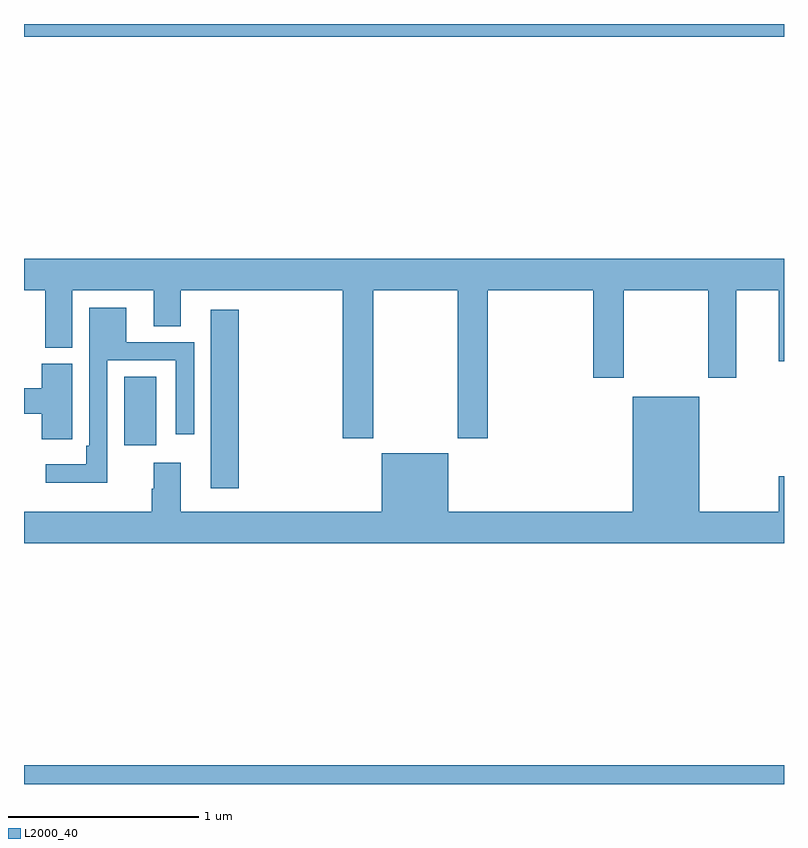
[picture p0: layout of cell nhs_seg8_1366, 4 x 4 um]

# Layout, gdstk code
import gdstk
lib = gdstk.Library(unit=1e-6, precision=1e-09)
def R(c, l, rs):  # rectangles x0, y0, x1, y1
    for r in rs: c.add(gdstk.rectangle(r[:2], r[2:], *l))
def P(c, l, *ps):  # polygons
    for p in ps: c.add(gdstk.Polygon(p, *l))
L2000_40 = (2000, 40)

nhs_seg8_1366 = lib.new_cell('nhs_seg8_1366')
R(nhs_seg8_1366, L2000_40, [(197,1113.9,201,1114), (197.984,1115.457,198.131,1116.397), (197.528,1115.682,197.695,1116.044), (197,1117.832,201,1117.9)])
P(nhs_seg8_1366, L2000_40, [(198.837,1116.5),(199.282,1116.5),(199.282,1115.721),(199.442,1115.721),(199.442,1116.5),(199.997,1116.5),(199.997,1116.039),(200.157,1116.039),(200.157,1116.5),(200.602,1116.5),(200.602,1116.039),(200.749,1116.039),(200.749,1116.5),(200.972,1116.5),(200.972,1116.126),(201,1116.126),(201,1116.664),(197,1116.664),(197,1116.5),(197.111,1116.5),(197.111,1116.196),(197.254,1116.196),(197.254,1116.5),(197.684,1116.5),(197.684,1116.31),(197.824,1116.31),(197.824,1116.5),(198.677,1116.5),(198.677,1115.721),(198.837,1115.721)],
  [(197.439,1116.129),(197.799,1116.129),(197.799,1115.742),(197.895,1115.742),(197.895,1116.225),(197.539,1116.225),(197.539,1116.406),(197.343,1116.406),(197.343,1115.68),(197.327,1115.68),(197.327,1115.584),(197.115,1115.584),(197.115,1115.486),(197.439,1115.486)],
  [(197.253,1115.827),(197.254,1115.827),(197.254,1116.111),(197.093,1116.111),(197.093,1115.984),(197,1115.984),(197,1115.848),(197.093,1115.848),(197.093,1115.715),(197.253,1115.715)],
  [(201,1115.521),(200.972,1115.521),(200.972,1115.332),(200.554,1115.332),(200.554,1115.938),(200.204,1115.938),(200.204,1115.332),(199.234,1115.332),(199.234,1115.641),(198.884,1115.641),(198.884,1115.332),(197.824,1115.332),(197.824,1115.59),(197.684,1115.59),(197.684,1115.453),(197.672,1115.453),(197.672,1115.332),(197,1115.332),(197,1115.168),(201,1115.168)])

lib.write_gds('nhs_seg8_1366.gds')
